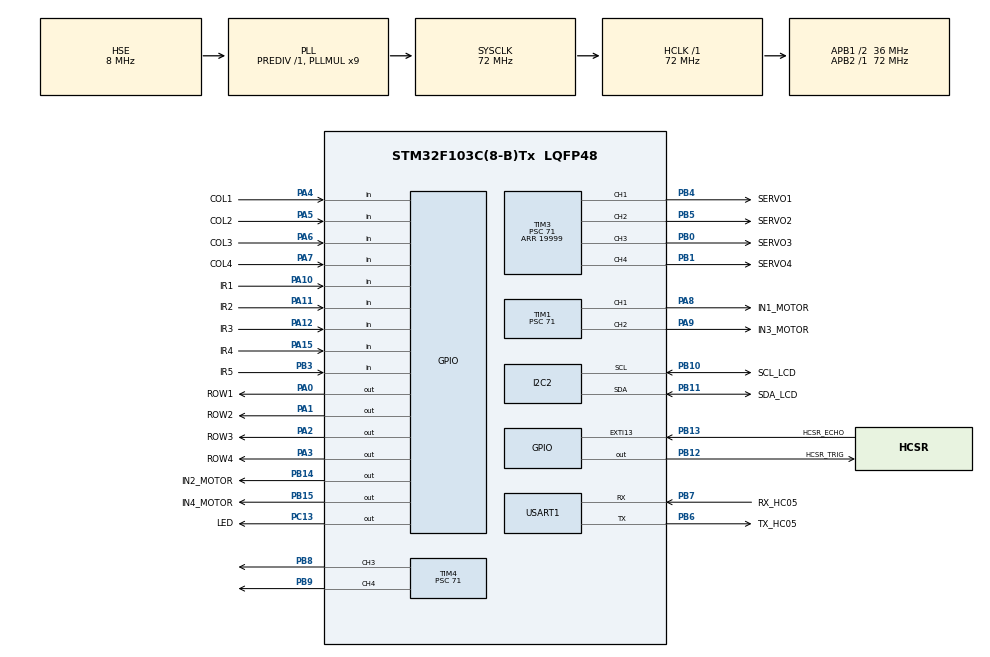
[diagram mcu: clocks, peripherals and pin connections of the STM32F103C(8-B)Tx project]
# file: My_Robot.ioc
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Mcu.Family=STM32F1
Mcu.Name=STM32F103C(8-B)Tx
Mcu.Package=LQFP48
NVIC.EXTI15_10_IRQn=true\:1\:0\:true\:false\:true\:true\:true
NVIC.PriorityGroup=NVIC_PRIORITYGROUP_4
NVIC.USART1_IRQn=true\:2\:0\:true\:false\:true\:true\:true
PA0-WKUP.GPIO_Label=ROW1
PA0-WKUP.GPIO_ModeDefaultOutputPP=GPIO_MODE_OUTPUT_PP
PA0-WKUP.GPIO_PuPd=GPIO_NOPULL
PA0-WKUP.GPIO_Speed=GPIO_SPEED_FREQ_HIGH
PA0-WKUP.PinState=GPIO_PIN_SET
PA0-WKUP.Signal=GPIO_Output
PA1.GPIO_Label=ROW2
PA1.GPIO_Speed=GPIO_SPEED_FREQ_HIGH
PA1.PinState=GPIO_PIN_SET
PA1.Signal=GPIO_Output
PA10.GPIO_Label=IR1
PA10.Signal=GPIO_Input
PA11.GPIO_Label=IR2
PA11.Signal=GPIO_Input
PA12.GPIO_Label=IR3
PA12.Signal=GPIO_Input
PA13.Mode=Serial_Wire
PA13.Signal=SYS_JTMS-SWDIO
PA14.Mode=Serial_Wire
PA14.Signal=SYS_JTCK-SWCLK
PA15.GPIO_Label=IR4
PA15.Signal=GPIO_Input
PA2.GPIO_Label=ROW3
PA2.GPIO_ModeDefaultOutputPP=GPIO_MODE_OUTPUT_PP
PA2.GPIO_PuPd=GPIO_NOPULL
PA2.GPIO_Speed=GPIO_SPEED_FREQ_HIGH
PA2.PinState=GPIO_PIN_SET
PA2.Signal=GPIO_Output
PA3.GPIO_Label=ROW4
PA3.GPIO_ModeDefaultOutputPP=GPIO_MODE_OUTPUT_PP
PA3.GPIO_PuPd=GPIO_NOPULL
PA3.GPIO_Speed=GPIO_SPEED_FREQ_HIGH
PA3.PinState=GPIO_PIN_SET
PA3.Signal=GPIO_Output
PA4.GPIO_Label=COL1
PA4.GPIO_Mode=GPIO_MODE_INPUT
PA4.GPIO_PuPd=GPIO_PULLUP
PA4.Signal=GPIO_Input
PA5.GPIO_Label=COL2
PA5.GPIO_PuPd=GPIO_PULLUP
PA5.Signal=GPIO_Input
PA6.GPIO_Label=COL3
PA6.GPIO_Mode=GPIO_MODE_INPUT
PA6.GPIO_PuPd=GPIO_PULLUP
PA6.Signal=GPIO_Input
PA7.GPIO_Label=COL4
PA7.GPIO_Mode=GPIO_MODE_INPUT
PA7.GPIO_PuPd=GPIO_PULLUP
PA7.Signal=GPIO_Input
PA8.GPIO_Label=IN1_MOTOR
PA8.Signal=S_TIM1_CH1
PA9.GPIO_Label=IN3_MOTOR
PA9.Signal=S_TIM1_CH2
PB0.GPIO_Label=SERVO3
PB0.Signal=S_TIM3_CH3
PB1.GPIO_Label=SERVO4
PB1.Signal=S_TIM3_CH4
PB10.GPIO_Label=SCL_LCD
PB10.Mode=I2C
PB10.Signal=I2C2_SCL
PB11.GPIO_Label=SDA_LCD
PB11.Mode=I2C
PB11.Signal=I2C2_SDA
PB12.GPIO_Label=HCSR_TRIG
PB12.Signal=GPIO_Output
PB13.GPIO_Label=HCSR_ECHO
PB13.GPIO_ModeDefaultEXTI=GPIO_MODE_IT_RISING_FALLING
PB13.Signal=GPXTI13
PB14.GPIO_Label=IN2_MOTOR
PB14.Signal=GPIO_Output
PB15.GPIO_Label=IN4_MOTOR
PB15.Signal=GPIO_Output
PB3.GPIO_Label=IR5
PB3.Signal=GPIO_Input
PB4.GPIO_Label=SERVO1
PB4.Signal=S_TIM3_CH1
PB5.GPIO_Label=SERVO2
PB5.Signal=S_TIM3_CH2
PB6.GPIO_Label=TX_HC05
PB6.Mode=Asynchronous
PB6.Signal=USART1_TX
PB7.GPIO_Label=RX_HC05
PB7.Mode=Asynchronous
PB7.Signal=USART1_RX
PB8.Signal=S_TIM4_CH3
PB9.Signal=S_TIM4_CH4
PC13-TAMPER-RTC.GPIO_Label=LED
PC13-TAMPER-RTC.Signal=GPIO_Output
PD0-OSC_IN.Mode=HSE-External-Oscillator
PD0-OSC_IN.Signal=RCC_OSC_IN
PD1-OSC_OUT.Mode=HSE-External-Oscillator
PD1-OSC_OUT.Signal=RCC_OSC_OUT
ProjectManager.HeapSize=0x200
ProjectManager.StackSize=0x400
ProjectManager.TargetToolchain=MDK-ARM V5.27
RCC.AHBFreq_Value=72000000
RCC.APB1CLKDivider=RCC_HCLK_DIV2
RCC.APB1Freq_Value=36000000
RCC.APB1TimFreq_Value=72000000
RCC.APB2Freq_Value=72000000
RCC.APB2TimFreq_Value=72000000
RCC.HCLKFreq_Value=72000000
RCC.PLLMUL=RCC_PLL_MUL9
RCC.PLLSourceVirtual=RCC_PLLSOURCE_HSE
RCC.SYSCLKFreq_VALUE=72000000
RCC.SYSCLKSource=RCC_SYSCLKSOURCE_PLLCLK
RCC.USBFreq_Value=72000000
SH.S_TIM1_CH1.0=TIM1_CH1,PWM Generation1 CH1
SH.S_TIM1_CH2.0=TIM1_CH2,PWM Generation2 CH2
SH.S_TIM3_CH1.0=TIM3_CH1,PWM Generation1 CH1
SH.S_TIM3_CH2.0=TIM3_CH2,PWM Generation2 CH2
SH.S_TIM3_CH3.0=TIM3_CH3,PWM Generation3 CH3
SH.S_TIM3_CH4.0=TIM3_CH4,PWM Generation4 CH4
SH.S_TIM4_CH3.0=TIM4_CH3,PWM Generation3 CH3
SH.S_TIM4_CH4.0=TIM4_CH4,PWM Generation4 CH4
TIM1.Channel-PWM\ Generation1\ CH1=TIM_CHANNEL_1
TIM1.Channel-PWM\ Generation2\ CH2=TIM_CHANNEL_2
TIM1.Period=999
TIM1.Prescaler=71
TIM2.Prescaler=71
TIM3.Channel-PWM\ Generation1\ CH1=TIM_CHANNEL_1
TIM3.Channel-PWM\ Generation2\ CH2=TIM_CHANNEL_2
TIM3.Channel-PWM\ Generation3\ CH3=TIM_CHANNEL_3
TIM3.Channel-PWM\ Generation4\ CH4=TIM_CHANNEL_4
TIM3.Period=19999
TIM3.Prescaler=71
TIM4.Channel-PWM\ Generation3\ CH3=TIM_CHANNEL_3
TIM4.Channel-PWM\ Generation4\ CH4=TIM_CHANNEL_4
TIM4.Period=19999
TIM4.Prescaler=71
USART1.VirtualMode=VM_ASYNC
VP_TIM1_VS_ClockSourceINT.Mode=Internal
VP_TIM2_VS_ClockSourceINT.Mode=Internal
VP_TIM3_VS_ClockSourceINT.Mode=Internal
VP_TIM4_VS_ClockSourceINT.Mode=Internal
board=custom

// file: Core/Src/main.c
/* USER CODE BEGIN Header */
/**
  ******************************************************************************
  * @file           : main.c
  * @brief          : Main program body
  ******************************************************************************
  * @attention
  *
  * <h2><center>&copy; Copyright (c) 2023 STMicroelectronics.
  * All rights reserved.</center></h2>
  *
  * This software component is licensed by ST under BSD 3-Clause license,
  * the "License"; You may not use this file except in compliance with the
  * License. You may obtain a copy of the License at:
  *                        opensource.org/licenses/BSD-3-Clause
  *
  ******************************************************************************
  */
/* USER CODE END Header */
#include "main.h"

/* USER CODE BEGIN Includes */
#include <string.h>
#include <stdlib.h>
#include "keypad.h"
#include "LiquidCrystal_I2C.h"
#include "flash.h"
#include "uart.h"
#include "car_driver.h"
#include "car_remote.h"
#include "arm_driver.h"
#include "hcsr04.h"
#include "car_auto.h"
#include "arm_auto.h"

/* USER CODE END Includes */

I2C_HandleTypeDef hi2c2;

TIM_HandleTypeDef htim1;
TIM_HandleTypeDef htim2;
TIM_HandleTypeDef htim3;
TIM_HandleTypeDef htim4;

UART_HandleTypeDef huart1;

/* USER CODE BEGIN PV */

LiquidCrystal_I2C hlcd1;
Arm_Robot_Typedef arm_robot;
HCSR04_TypeDef hc_sr04;
Servo servo_hcsr04;

/* USER CODE END PV */

void SystemClock_Config(void);
static void MX_GPIO_Init(void);
static void MX_I2C2_Init(void);
static void MX_USART1_UART_Init(void);
static void MX_TIM1_Init(void);
static void MX_TIM2_Init(void);
static void MX_TIM3_Init(void);
static void MX_TIM4_Init(void);

/* USER CODE BEGIN 0 */

/*------------------- DECLARE STRUCTURES AND STATE MACHINE -------------------*/
typedef enum
{
	LOCK_STATE,
	ENTER_PASS_STATE,
	SET_PASS_STATE,
	NORMAL_STATE,
	LOCK_30S_STATE
}KeypadState;

//typedef enum
//{
//	STOP_STATE,
//	REMOTE_STATE,
//	SET_AUTO_STATE,
//	AUTO_STATE
//}RobotState;

/*************************** GLOBAL PARAMETERS FOR MANY FUNCTIONS *******************************/
RobotState robot_state = STOP_STATE;

/***************************************** UART EXCUSE ******************************************/

uint8_t rx_data;
uint8_t buff_button[3];
uint8_t id_button;
uint8_t circle_number;

void HAL_UART_RxCpltCallback(UART_HandleTypeDef *huart)
{
	if(huart->Instance == huart1.Instance)
	{
		Uart_Receive_Data(rx_data);
		if (rx_data == 'A' || rx_data == 'B')
		{
			id_button = 0;
		}
		if (id_button < 3)
			buff_button[id_button++] = rx_data;
		HAL_UART_Receive_IT(&huart1, &rx_data, 1);
	}
}

/*										REMOTE SET STATE										*/
void remote_set_state(void)
{
	if (buff_button[0] == 'A' && buff_button[2] == '3')
	{
		memset(buff_button, 0, 3);
		HAL_UART_Transmit(&huart1, (uint8_t *)"2", 1, 10);

		circle_number = 1;

		lcd_clear_display(&hlcd1);
		lcd_printf(&hlcd1, "AUTO_STATE");
		lcd_set_cursor_off(&hlcd1);
		lcd_set_cursor_blink_off(&hlcd1);

		robot_state = AUTO_STATE;
	}
	if (buff_button[0] == 'B' && buff_button[2] == '3')
	{
		memset(buff_button, 0, 3);
		HAL_UART_Transmit(&huart1, (uint8_t *)"1", 1, 10);

		lcd_clear_display(&hlcd1);
		lcd_printf(&hlcd1, "REMOTE_STATE");
		lcd_set_cursor_off(&hlcd1);

		lcd_set_cursor_blink_off(&hlcd1);
		robot_state = REMOTE_STATE;
	}
}

/***************************************** HCSR04 EXCUSE ******************************************/

void HAL_GPIO_EXTI_Callback(uint16_t GPIO_Pin)
{
	if(GPIO_Pin == HCSR_ECHO_Pin)
	{
		EXTI_HCSR04_Callback(&hc_sr04);
	}
}

void HCSR04_Complete_Callback(HCSR04_TypeDef *hcsr04)
{
	if (&hc_sr04 == hcsr04)
	{
		if (robot_state == AUTO_STATE)
		{
			if (hc_sr04.hcsr04_distan < 20)
			{
				lcd_clear_display(&hlcd1);
				lcd_printf(&hlcd1, "  DISTANCE");
				lcd_set_cursor(&hlcd1, 1, 0);
				lcd_printf(&hlcd1, "%.3f", hc_sr04.hcsr04_distan);
			}
		}
	}
}

/***************************************** KEYPAD EXCUSE ******************************************/
typedef struct
{
	uint8_t buff[8];
	uint8_t index;
}password_Typedef;

KeypadState keypad_state = LOCK_STATE;
password_Typedef password;

uint8_t default_pass[8];
uint8_t count_error = 3;
uint16_t lock_start_time;
uint8_t keypad_flag = 1;
uint32_t hcsr04_time;

/*------------------------------- PRESS --------------------------------*/
void KeypadPressingCallback(uint8_t key)
{
	switch(keypad_state)
	{
		case LOCK_STATE:
			break;

		case ENTER_PASS_STATE:
		{
			if(key >= '0' && key <= '9')
			{
				if(password.index < 8)
				{
					password.buff[password.index++] = key;
					lcd_putchar(&hlcd1, key);
				}
			}
			else if(key == 'A')
			{
				password.index++;
				lcd_set_cursor(&hlcd1, 1, password.index);
			}
			else if(key == 'B')
			{
				password.index--;
				lcd_set_cursor(&hlcd1, 1, password.index);
			}
			else if(key == 'C')
			{
				lcd_clear_display(&hlcd1);
				lcd_printf(&hlcd1, "Enter password");
				lcd_set_cursor(&hlcd1, 1, 0);
				password.index = 0;
			}
			else if(key == 'D')
			{
				/* Check password */
				if(strncmp((char *)default_pass, (char *)password.buff, 8) == 0)
//				if(strncmp((char *)default_pass, (char *)password.buff, 1) == 0)
				{
					/* password is true */
					keypad_state = NORMAL_STATE;
					lcd_clear_display(&hlcd1);
					lcd_printf(&hlcd1, "Press A to Auto");
					lcd_set_cursor(&hlcd1, 1, 0);
					lcd_printf(&hlcd1, "B to Remote: ");
				}
				else
				{
					/* password is fail */
					password.index = 0;
					count_error--;
					lcd_clear_display(&hlcd1);
					lcd_printf(&hlcd1, "%d time left", count_error);
					lcd_set_cursor(&hlcd1, 1, 0);
					if(count_error == 0)
					{
						keypad_state = LOCK_30S_STATE;
						lock_start_time = HAL_GetTick();
						keypad_flag = 1;
						lcd_set_cursor_off(&hlcd1);
						lcd_set_cursor_blink_off(&hlcd1);
					}
				}
			}
			break;
		}

		case SET_PASS_STATE:
		{
			if(key >= '0' && key <= '9')
			{
				if(password.index < 8)
				{
					password.buff[password.index++] = key;
					lcd_putchar(&hlcd1, key);
				}
			}
			else if(key == 'A')
			{
				password.index++;
				lcd_set_cursor(&hlcd1, 1, password.index);
			}
			else if(key == 'B')
			{
				password.index--;
				lcd_set_cursor(&hlcd1, 1, password.index);
			}
			if (password.index == 8)
			{
				lcd_set_cursor(&hlcd1, 0, 0);
				lcd_printf(&hlcd1, "L_Press B: save");
			}
			break;
		}

		case NORMAL_STATE:
		{
			if(key == 'A')
			{
				robot_state = SET_AUTO_STATE;
				lcd_clear_display(&hlcd1);
				lcd_printf(&hlcd1, "Input number of");
				lcd_set_cursor(&hlcd1, 1, 0);
				lcd_printf(&hlcd1, "circles:");
				HAL_UART_Transmit(&huart1, (uint8_t *)"2", 1, 10);
				HAL_UART_Receive_IT(&huart1, &rx_data, 1);
			}
			else if(key == 'B')
			{
				robot_state = REMOTE_STATE;
				lcd_clear_display(&hlcd1);
				lcd_printf(&hlcd1, "REMOTE_STATE");
				lcd_set_cursor_off(&hlcd1);
				lcd_set_cursor_blink_off(&hlcd1);
				HAL_UART_Transmit(&huart1, (uint8_t *)"1", 1, 10);
				HAL_UART_Receive_IT(&huart1, &rx_data, 1);
			}
			else if (key == 'D')
			{
				if (robot_state == SET_AUTO_STATE)
				{
					lcd_clear_display(&hlcd1);
					lcd_printf(&hlcd1, "AUTO_STATE");
					lcd_set_cursor_off(&hlcd1);
					lcd_set_cursor_blink_off(&hlcd1);
					robot_state = AUTO_STATE;
				}
			}
			else if (key >= '1' && key <= '9')
			{
				if (robot_state == SET_AUTO_STATE)
				{
					lcd_set_cursor(&hlcd1, 1, 8);
					lcd_putchar(&hlcd1, key);
					circle_number = atoi((char *)&key);
				}
			}
			break;
		}

		case LOCK_30S_STATE:
			break;
	}
}

/*------------------------------- LONG PRESS --------------------------------*/
void KeypadPressingTimeoutCallback(uint8_t key)
{
	if(key == 'D')																					// Enter password
	{
		keypad_flag = 1;
		keypad_state = LOCK_STATE;
	}

	else if (key == 'B')																		// Save new password
	{
		if (keypad_state == SET_PASS_STATE)
		{
			//strcpy((char *)buff_pass, (char *)password.buff);
			flash_unlock();
			flash_erease(0x0801EC00);
			flash_write_arr(0x0801EC00, password.buff, 8);
			flash_lock();
			keypad_flag = 1;
			keypad_state = LOCK_STATE;
		}
	}

	else if (key == 'C')																		// SET new password
	{
		if (keypad_state == NORMAL_STATE || keypad_state == SET_PASS_STATE)
		{
			password.index = 0;
			lcd_clear_display(&hlcd1);
			lcd_set_cursor(&hlcd1, 0, 0);
			lcd_printf(&hlcd1, "Enter new pass:");
			lcd_set_cursor(&hlcd1, 1, 0);
			lcd_set_cursor_blink_on(&hlcd1);
			keypad_state = SET_PASS_STATE;
		}
	}
}

/*-------------------------- KEYPAD STATE HANDLE (is called in WHILE LOOP) ----------------------------*/
void Keypad_State_Handle(void)
{
	switch(keypad_state)
	{
		case LOCK_STATE:
		{
			if(keypad_flag)
			{
				keypad_flag = 0;
				/*----- READ password FROM FLASH MEMORY -----*/
				flash_unlock();
				flash_read_arr(0x0801EC00, default_pass, 8);
				flash_lock();
				/*-------------------------------------------*/

				/*---------------- CHECK PASS ---------------*/
//				for (uint8_t i = 0; i < 8; i++)
//				{
//					if (default_pass[i] < '0' || default_pass[i] > '9')
//					{
//						lcd_set_cursor(&hlcd1, 0, 0);
//						lcd_printf(&hlcd1, "Enter new pass:");
//						lcd_set_cursor(&hlcd1, 1, 0);
//						lcd_set_cursor_blink_on(&hlcd1);
//						keypad_state = SET_PASS_STATE;
//						break;
//					}
//					else
//					{
//						lcd_clear_display(&hlcd1);
//						lcd_printf(&hlcd1, "Long press D");
//						lcd_set_cursor(&hlcd1, 1, 0);
//						lcd_printf(&hlcd1, "to enter pass");
//					}
//				}
				/*-------------------------------------------*/
				password.index = 0;
				lcd_clear_display(&hlcd1);
				lcd_printf(&hlcd1, "Enter password:");
				lcd_set_cursor(&hlcd1, 1, 0);
				lcd_set_cursor_on(&hlcd1);
				lcd_set_cursor_blink_on(&hlcd1);
				keypad_state = ENTER_PASS_STATE;
			}
			break;
		}

		case ENTER_PASS_STATE:
			break;

		case SET_PASS_STATE:
			break;

		case NORMAL_STATE:
		{
			remote_set_state();
			Uart_Handle();
			if (HAL_GetTick() - hcsr04_time >= 100)
			{
				HCSR04_Start(&hc_sr04);
				hcsr04_time = HAL_GetTick();
			}
			switch(robot_state)
			{
				case STOP_STATE:
				{
					Car_Control_Wheels(0, 0);
					break;
				}
				case REMOTE_STATE:
				{
					car_remote_handle();
					break;
				}
				case AUTO_STATE:
				{
					car_auto_state_switch(&servo_hcsr04 ,hc_sr04.hcsr04_distan);
					car_auto_state_handle(&servo_hcsr04, hc_sr04.hcsr04_distan);
					if (circle_number == 0)
					{
						robot_state = STOP_STATE;
						lcd_clear_display(&hlcd1);
						lcd_printf(&hlcd1, "AUTO MODE DONE");
					}
					break;
				}
				default:
					break;
			}

			break;
		}

		case LOCK_30S_STATE:
		{
			uint16_t milis_lock;
			milis_lock = HAL_GetTick() - lock_start_time;
			if((HAL_GetTick() - lock_start_time)%1000 == 0)
			{
				lcd_clear_display(&hlcd1);
				lcd_printf(&hlcd1, "Lock %ds",(30 - milis_lock/1000));
			}
			if((HAL_GetTick() - lock_start_time) >= 30000)
			{
				keypad_state = LOCK_STATE;
				count_error = 3;
				keypad_flag = 1;
			}
			break;
		}
	}
}

/* USER CODE END 0 */

int main(void)
{

  /* MCU Configuration--------------------------------------------------------*/

  /* Reset of all peripherals, Initializes the Flash interface and the Systick. */
  HAL_Init();

  /* Configure the system clock */
  SystemClock_Config();

  /* Initialize all configured peripherals */
  MX_GPIO_Init();
  MX_I2C2_Init();
  MX_USART1_UART_Init();
  MX_TIM1_Init();
  MX_TIM2_Init();
  MX_TIM3_Init();
  MX_TIM4_Init();
  /* USER CODE BEGIN 2 */

  /*---------------------------- Init equipments functions -----------------------*/
  lcd_init(&hlcd1, &hi2c2, LCD_ADDR_DEFAULT);
  HCSR04_Init(&hc_sr04, &htim4, HCSR_TRIG_GPIO_Port, HCSR_TRIG_Pin, HCSR_ECHO_GPIO_Port, HCSR_ECHO_Pin);

  Car_Init(&htim1, TIM_CHANNEL_1, TIM_CHANNEL_2, GPIOB, GPIO_PIN_14, GPIOB, GPIO_PIN_15);
	Arm_Robot_Init(&arm_robot, &htim3);

	Servo_Init(&servo_hcsr04, &htim4, TIM_CHANNEL_4);
	Servo_Write(&servo_hcsr04, 90);

//	set_default_cmd();
//	flash_unlock();
//	flash_erease(0x0801F000);
//	flash_erease(0x0801F400);
//	flash_erease(0x0801F800);
//	flash_erease(0x0801FC00);
//	flash_lock();

	Flash_Read_Position_Load();
	Flash_Read_Position_Unload();

//	Car_Control_Wheels(50, -50);				// xoay trai
//	HAL_Delay(590);
//	Car_Control_Wheels(0, 0);

//	Car_Control_Wheels(30, 30);
//	HAL_Delay(800);
//	Car_Control_Wheels(0, 0);

	/*--------------- BLINK LED TO CHECK MICROCONTROLER IS NOT BLOCK ---------------*/
	static uint32_t time_blink = 0;
  /* USER CODE END 2 */

  /* Infinite loop */
  /* USER CODE BEGIN WHILE */
  while (1)
  {
		Keypad_Handle();
		Keypad_State_Handle();
		HCSR04_Handle(&hc_sr04);

		if (HAL_GetTick() - time_blink > 500)
		{
			HAL_GPIO_TogglePin(LED_GPIO_Port, LED_Pin);
			time_blink = HAL_GetTick();
		}

    /* USER CODE END WHILE */

  }
}

void SystemClock_Config(void)
{
  RCC_OscInitTypeDef RCC_OscInitStruct = {0};
  RCC_ClkInitTypeDef RCC_ClkInitStruct = {0};

  /** Initializes the RCC Oscillators according to the specified parameters
  * in the RCC_OscInitTypeDef structure.
  */
  RCC_OscInitStruct.OscillatorType = RCC_OSCILLATORTYPE_HSE;
  RCC_OscInitStruct.HSEState = RCC_HSE_ON;
  RCC_OscInitStruct.HSEPredivValue = RCC_HSE_PREDIV_DIV1;
  RCC_OscInitStruct.HSIState = RCC_HSI_ON;
  RCC_OscInitStruct.PLL.PLLState = RCC_PLL_ON;
  RCC_OscInitStruct.PLL.PLLSource = RCC_PLLSOURCE_HSE;
  RCC_OscInitStruct.PLL.PLLMUL = RCC_PLL_MUL9;
  if (HAL_RCC_OscConfig(&RCC_OscInitStruct) != HAL_OK)
  {
    Error_Handler();
  }
  /** Initializes the CPU, AHB and APB buses clocks
  */
  RCC_ClkInitStruct.ClockType = RCC_CLOCKTYPE_HCLK|RCC_CLOCKTYPE_SYSCLK
                              |RCC_CLOCKTYPE_PCLK1|RCC_CLOCKTYPE_PCLK2;
  RCC_ClkInitStruct.SYSCLKSource = RCC_SYSCLKSOURCE_PLLCLK;
  RCC_ClkInitStruct.AHBCLKDivider = RCC_SYSCLK_DIV1;
  RCC_ClkInitStruct.APB1CLKDivider = RCC_HCLK_DIV2;
  RCC_ClkInitStruct.APB2CLKDivider = RCC_HCLK_DIV1;

  if (HAL_RCC_ClockConfig(&RCC_ClkInitStruct, FLASH_LATENCY_2) != HAL_OK)
  {
    Error_Handler();
  }
}

static void MX_I2C2_Init(void)
{

  hi2c2.Instance = I2C2;
  hi2c2.Init.ClockSpeed = 100000;
  hi2c2.Init.DutyCycle = I2C_DUTYCYCLE_2;
  hi2c2.Init.OwnAddress1 = 0;
  hi2c2.Init.AddressingMode = I2C_ADDRESSINGMODE_7BIT;
  hi2c2.Init.DualAddressMode = I2C_DUALADDRESS_DISABLE;
  hi2c2.Init.OwnAddress2 = 0;
  hi2c2.Init.GeneralCallMode = I2C_GENERALCALL_DISABLE;
  hi2c2.Init.NoStretchMode = I2C_NOSTRETCH_DISABLE;
  if (HAL_I2C_Init(&hi2c2) != HAL_OK)
  {
    Error_Handler();
  }

}

static void MX_TIM1_Init(void)
{

  TIM_ClockConfigTypeDef sClockSourceConfig = {0};
  TIM_MasterConfigTypeDef sMasterConfig = {0};
  TIM_OC_InitTypeDef sConfigOC = {0};
  TIM_BreakDeadTimeConfigTypeDef sBreakDeadTimeConfig = {0};

  htim1.Instance = TIM1;
  htim1.Init.Prescaler = 71;
  htim1.Init.CounterMode = TIM_COUNTERMODE_UP;
  htim1.Init.Period = 999;
  htim1.Init.ClockDivision = TIM_CLOCKDIVISION_DIV1;
  htim1.Init.RepetitionCounter = 0;
  htim1.Init.AutoReloadPreload = TIM_AUTORELOAD_PRELOAD_DISABLE;
  if (HAL_TIM_Base_Init(&htim1) != HAL_OK)
  {
    Error_Handler();
  }
  sClockSourceConfig.ClockSource = TIM_CLOCKSOURCE_INTERNAL;
  if (HAL_TIM_ConfigClockSource(&htim1, &sClockSourceConfig) != HAL_OK)
  {
    Error_Handler();
  }
  if (HAL_TIM_PWM_Init(&htim1) != HAL_OK)
  {
    Error_Handler();
  }
  sMasterConfig.MasterOutputTrigger = TIM_TRGO_RESET;
  sMasterConfig.MasterSlaveMode = TIM_MASTERSLAVEMODE_DISABLE;
  if (HAL_TIMEx_MasterConfigSynchronization(&htim1, &sMasterConfig) != HAL_OK)
  {
    Error_Handler();
  }
  sConfigOC.OCMode = TIM_OCMODE_PWM1;
  sConfigOC.Pulse = 0;
  sConfigOC.OCPolarity = TIM_OCPOLARITY_HIGH;
  sConfigOC.OCNPolarity = TIM_OCNPOLARITY_HIGH;
  sConfigOC.OCFastMode = TIM_OCFAST_DISABLE;
  sConfigOC.OCIdleState = TIM_OCIDLESTATE_RESET;
  sConfigOC.OCNIdleState = TIM_OCNIDLESTATE_RESET;
  if (HAL_TIM_PWM_ConfigChannel(&htim1, &sConfigOC, TIM_CHANNEL_1) != HAL_OK)
  {
    Error_Handler();
  }
  if (HAL_TIM_PWM_ConfigChannel(&htim1, &sConfigOC, TIM_CHANNEL_2) != HAL_OK)
  {
    Error_Handler();
  }
  sBreakDeadTimeConfig.OffStateRunMode = TIM_OSSR_DISABLE;
  sBreakDeadTimeConfig.OffStateIDLEMode = TIM_OSSI_DISABLE;
  sBreakDeadTimeConfig.LockLevel = TIM_LOCKLEVEL_OFF;
  sBreakDeadTimeConfig.DeadTime = 0;
  sBreakDeadTimeConfig.BreakState = TIM_BREAK_DISABLE;
  sBreakDeadTimeConfig.BreakPolarity = TIM_BREAKPOLARITY_HIGH;
  sBreakDeadTimeConfig.AutomaticOutput = TIM_AUTOMATICOUTPUT_DISABLE;
  if (HAL_TIMEx_ConfigBreakDeadTime(&htim1, &sBreakDeadTimeConfig) != HAL_OK)
  {
    Error_Handler();
  }
  HAL_TIM_MspPostInit(&htim1);

}

static void MX_TIM2_Init(void)
{

  TIM_ClockConfigTypeDef sClockSourceConfig = {0};
  TIM_MasterConfigTypeDef sMasterConfig = {0};

  htim2.Instance = TIM2;
  htim2.Init.Prescaler = 71;
  htim2.Init.CounterMode = TIM_COUNTERMODE_UP;
  htim2.Init.Period = 65535;
  htim2.Init.ClockDivision = TIM_CLOCKDIVISION_DIV1;
  htim2.Init.AutoReloadPreload = TIM_AUTORELOAD_PRELOAD_DISABLE;
  if (HAL_TIM_Base_Init(&htim2) != HAL_OK)
  {
    Error_Handler();
  }
  sClockSourceConfig.ClockSource = TIM_CLOCKSOURCE_INTERNAL;
  if (HAL_TIM_ConfigClockSource(&htim2, &sClockSourceConfig) != HAL_OK)
  {
    Error_Handler();
  }
  sMasterConfig.MasterOutputTrigger = TIM_TRGO_RESET;
  sMasterConfig.MasterSlaveMode = TIM_MASTERSLAVEMODE_DISABLE;
  if (HAL_TIMEx_MasterConfigSynchronization(&htim2, &sMasterConfig) != HAL_OK)
  {
    Error_Handler();
  }

}

static void MX_TIM3_Init(void)
{

  TIM_ClockConfigTypeDef sClockSourceConfig = {0};
  TIM_MasterConfigTypeDef sMasterConfig = {0};
  TIM_OC_InitTypeDef sConfigOC = {0};

  htim3.Instance = TIM3;
  htim3.Init.Prescaler = 71;
  htim3.Init.CounterMode = TIM_COUNTERMODE_UP;
  htim3.Init.Period = 19999;
  htim3.Init.ClockDivision = TIM_CLOCKDIVISION_DIV1;
  htim3.Init.AutoReloadPreload = TIM_AUTORELOAD_PRELOAD_DISABLE;
  if (HAL_TIM_Base_Init(&htim3) != HAL_OK)
  {
    Error_Handler();
  }
  sClockSourceConfig.ClockSource = TIM_CLOCKSOURCE_INTERNAL;
  if (HAL_TIM_ConfigClockSource(&htim3, &sClockSourceConfig) != HAL_OK)
  {
    Error_Handler();
  }
  if (HAL_TIM_PWM_Init(&htim3) != HAL_OK)
  {
    Error_Handler();
  }
  sMasterConfig.MasterOutputTrigger = TIM_TRGO_RESET;
  sMasterConfig.MasterSlaveMode = TIM_MASTERSLAVEMODE_DISABLE;
  if (HAL_TIMEx_MasterConfigSynchronization(&htim3, &sMasterConfig) != HAL_OK)
  {
    Error_Handler();
  }
  sConfigOC.OCMode = TIM_OCMODE_PWM1;
  sConfigOC.Pulse = 0;
  sConfigOC.OCPolarity = TIM_OCPOLARITY_HIGH;
  sConfigOC.OCFastMode = TIM_OCFAST_DISABLE;
  if (HAL_TIM_PWM_ConfigChannel(&htim3, &sConfigOC, TIM_CHANNEL_1) != HAL_OK)
  {
    Error_Handler();
  }
  if (HAL_TIM_PWM_ConfigChannel(&htim3, &sConfigOC, TIM_CHANNEL_2) != HAL_OK)
  {
    Error_Handler();
  }
  if (HAL_TIM_PWM_ConfigChannel(&htim3, &sConfigOC, TIM_CHANNEL_3) != HAL_OK)
  {
    Error_Handler();
  }
  if (HAL_TIM_PWM_ConfigChannel(&htim3, &sConfigOC, TIM_CHANNEL_4) != HAL_OK)
  {
    Error_Handler();
  }
  HAL_TIM_MspPostInit(&htim3);

}

static void MX_TIM4_Init(void)
{

  TIM_ClockConfigTypeDef sClockSourceConfig = {0};
  TIM_MasterConfigTypeDef sMasterConfig = {0};
  TIM_OC_InitTypeDef sConfigOC = {0};

  htim4.Instance = TIM4;
  htim4.Init.Prescaler = 71;
  htim4.Init.CounterMode = TIM_COUNTERMODE_UP;
  htim4.Init.Period = 19999;
  htim4.Init.ClockDivision = TIM_CLOCKDIVISION_DIV1;
  htim4.Init.AutoReloadPreload = TIM_AUTORELOAD_PRELOAD_DISABLE;
  if (HAL_TIM_Base_Init(&htim4) != HAL_OK)
  {
    Error_Handler();
  }
  sClockSourceConfig.ClockSource = TIM_CLOCKSOURCE_INTERNAL;
  if (HAL_TIM_ConfigClockSource(&htim4, &sClockSourceConfig) != HAL_OK)
  {
    Error_Handler();
  }
  if (HAL_TIM_PWM_Init(&htim4) != HAL_OK)
  {
    Error_Handler();
  }
  sMasterConfig.MasterOutputTrigger = TIM_TRGO_RESET;
  sMasterConfig.MasterSlaveMode = TIM_MASTERSLAVEMODE_DISABLE;
  if (HAL_TIMEx_MasterConfigSynchronization(&htim4, &sMasterConfig) != HAL_OK)
  {
    Error_Handler();
  }
  sConfigOC.OCMode = TIM_OCMODE_PWM1;
  sConfigOC.Pulse = 0;
  sConfigOC.OCPolarity = TIM_OCPOLARITY_HIGH;
  sConfigOC.OCFastMode = TIM_OCFAST_DISABLE;
  if (HAL_TIM_PWM_ConfigChannel(&htim4, &sConfigOC, TIM_CHANNEL_3) != HAL_OK)
  {
    Error_Handler();
  }
  if (HAL_TIM_PWM_ConfigChannel(&htim4, &sConfigOC, TIM_CHANNEL_4) != HAL_OK)
  {
    Error_Handler();
  }
  HAL_TIM_MspPostInit(&htim4);

}

static void MX_USART1_UART_Init(void)
{

  huart1.Instance = USART1;
  huart1.Init.BaudRate = 115200;
  huart1.Init.WordLength = UART_WORDLENGTH_8B;
  huart1.Init.StopBits = UART_STOPBITS_1;
  huart1.Init.Parity = UART_PARITY_NONE;
  huart1.Init.Mode = UART_MODE_TX_RX;
  huart1.Init.HwFlowCtl = UART_HWCONTROL_NONE;
  huart1.Init.OverSampling = UART_OVERSAMPLING_16;
  if (HAL_UART_Init(&huart1) != HAL_OK)
  {
    Error_Handler();
  }

}

static void MX_GPIO_Init(void)
{
  GPIO_InitTypeDef GPIO_InitStruct = {0};

  /* GPIO Ports Clock Enable */
  __HAL_RCC_GPIOC_CLK_ENABLE();
  __HAL_RCC_GPIOD_CLK_ENABLE();
  __HAL_RCC_GPIOA_CLK_ENABLE();
  __HAL_RCC_GPIOB_CLK_ENABLE();

  /*Configure GPIO pin Output Level */
  HAL_GPIO_WritePin(LED_GPIO_Port, LED_Pin, GPIO_PIN_RESET);

  /*Configure GPIO pin Output Level */
  HAL_GPIO_WritePin(GPIOA, ROW1_Pin|ROW2_Pin|ROW3_Pin|ROW4_Pin, GPIO_PIN_SET);

  /*Configure GPIO pin Output Level */
  HAL_GPIO_WritePin(GPIOB, HCSR_TRIG_Pin|IN2_MOTOR_Pin|IN4_MOTOR_Pin, GPIO_PIN_RESET);

  /*Configure GPIO pin : LED_Pin */
  GPIO_InitStruct.Pin = LED_Pin;
  GPIO_InitStruct.Mode = GPIO_MODE_OUTPUT_PP;
  GPIO_InitStruct.Pull = GPIO_NOPULL;
  GPIO_InitStruct.Speed = GPIO_SPEED_FREQ_LOW;
  HAL_GPIO_Init(LED_GPIO_Port, &GPIO_InitStruct);

  /*Configure GPIO pins : ROW1_Pin ROW2_Pin ROW3_Pin ROW4_Pin */
  GPIO_InitStruct.Pin = ROW1_Pin|ROW2_Pin|ROW3_Pin|ROW4_Pin;
  GPIO_InitStruct.Mode = GPIO_MODE_OUTPUT_PP;
  GPIO_InitStruct.Pull = GPIO_NOPULL;
  GPIO_InitStruct.Speed = GPIO_SPEED_FREQ_HIGH;
  HAL_GPIO_Init(GPIOA, &GPIO_InitStruct);

  /*Configure GPIO pins : COL1_Pin COL2_Pin COL3_Pin COL4_Pin */
  GPIO_InitStruct.Pin = COL1_Pin|COL2_Pin|COL3_Pin|COL4_Pin;
  GPIO_InitStruct.Mode = GPIO_MODE_INPUT;
  GPIO_InitStruct.Pull = GPIO_PULLUP;
  HAL_GPIO_Init(GPIOA, &GPIO_InitStruct);

  /*Configure GPIO pins : HCSR_TRIG_Pin IN2_MOTOR_Pin IN4_MOTOR_Pin */
  GPIO_InitStruct.Pin = HCSR_TRIG_Pin|IN2_MOTOR_Pin|IN4_MOTOR_Pin;
  GPIO_InitStruct.Mode = GPIO_MODE_OUTPUT_PP;
  GPIO_InitStruct.Pull = GPIO_NOPULL;
  GPIO_InitStruct.Speed = GPIO_SPEED_FREQ_LOW;
  HAL_GPIO_Init(GPIOB, &GPIO_InitStruct);

  /*Configure GPIO pin : HCSR_ECHO_Pin */
  GPIO_InitStruct.Pin = HCSR_ECHO_Pin;
  GPIO_InitStruct.Mode = GPIO_MODE_IT_RISING_FALLING;
  GPIO_InitStruct.Pull = GPIO_NOPULL;
  HAL_GPIO_Init(HCSR_ECHO_GPIO_Port, &GPIO_InitStruct);

  /*Configure GPIO pins : IR1_Pin IR2_Pin IR3_Pin IR4_Pin */
  GPIO_InitStruct.Pin = IR1_Pin|IR2_Pin|IR3_Pin|IR4_Pin;
  GPIO_InitStruct.Mode = GPIO_MODE_INPUT;
  GPIO_InitStruct.Pull = GPIO_NOPULL;
  HAL_GPIO_Init(GPIOA, &GPIO_InitStruct);

  /*Configure GPIO pin : IR5_Pin */
  GPIO_InitStruct.Pin = IR5_Pin;
  GPIO_InitStruct.Mode = GPIO_MODE_INPUT;
  GPIO_InitStruct.Pull = GPIO_NOPULL;
  HAL_GPIO_Init(IR5_GPIO_Port, &GPIO_InitStruct);

  /* EXTI interrupt init*/
  HAL_NVIC_SetPriority(EXTI15_10_IRQn, 1, 0);
  HAL_NVIC_EnableIRQ(EXTI15_10_IRQn);

}

void Error_Handler(void)
{
}

/************************ (C) COPYRIGHT STMicroelectronics *****END OF FILE****/
